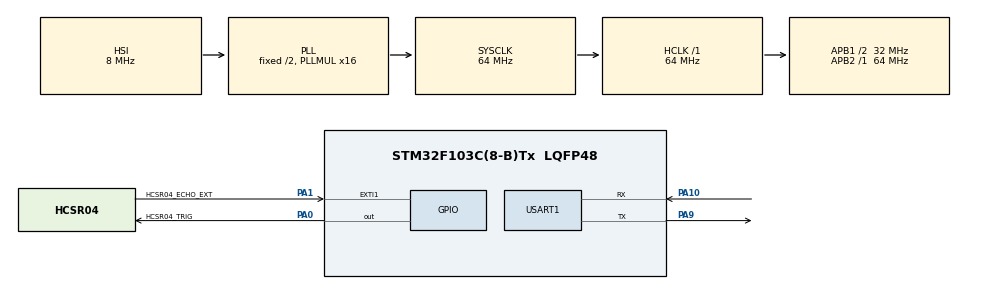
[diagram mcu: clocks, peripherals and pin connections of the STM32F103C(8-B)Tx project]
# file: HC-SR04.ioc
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Mcu.Family=STM32F1
Mcu.Name=STM32F103C(8-B)Tx
Mcu.Package=LQFP48
NVIC.EXTI1_IRQn=true\:1\:0\:true\:false\:true\:true\:true\:true
NVIC.PriorityGroup=NVIC_PRIORITYGROUP_4
PA0-WKUP.GPIO_Label=HCSR04_TRIG
PA0-WKUP.Signal=GPIO_Output
PA1.GPIO_Label=HCSR04_ECHO_EXT
PA1.GPIO_ModeDefaultEXTI=GPIO_MODE_IT_RISING_FALLING
PA1.GPIO_PuPd=GPIO_PULLUP
PA1.Signal=GPXTI1
PA10.Mode=Asynchronous
PA10.Signal=USART1_RX
PA13.Mode=Serial_Wire
PA13.Signal=SYS_JTMS-SWDIO
PA14.Mode=Serial_Wire
PA14.Signal=SYS_JTCK-SWCLK
PA9.Mode=Asynchronous
PA9.Signal=USART1_TX
PC14-OSC32_IN.Mode=LSE-External-Oscillator
PC14-OSC32_IN.Signal=RCC_OSC32_IN
PC15-OSC32_OUT.Mode=LSE-External-Oscillator
PC15-OSC32_OUT.Signal=RCC_OSC32_OUT
ProjectManager.HeapSize=0x200
ProjectManager.StackSize=0x400
ProjectManager.TargetToolchain=STM32CubeIDE
RCC.AHBFreq_Value=64000000
RCC.APB1CLKDivider=RCC_HCLK_DIV2
RCC.APB1Freq_Value=32000000
RCC.APB1TimFreq_Value=64000000
RCC.APB2Freq_Value=64000000
RCC.APB2TimFreq_Value=64000000
RCC.HCLKFreq_Value=64000000
RCC.PLLMUL=RCC_PLL_MUL16
RCC.SYSCLKFreq_VALUE=64000000
RCC.SYSCLKSource=RCC_SYSCLKSOURCE_PLLCLK
RCC.USBFreq_Value=64000000
TIM1.Prescaler=63
USART1.VirtualMode=VM_ASYNC
VP_TIM1_VS_ClockSourceINT.Mode=Internal
board=custom

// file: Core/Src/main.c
/* USER CODE BEGIN Header */
/**
  ******************************************************************************
  * @file           : main.c
  * @brief          : Main program body
  ******************************************************************************
  * @attention
  *
  * Copyright (c) 2025 STMicroelectronics.
  * All rights reserved.
  *
  * This software is licensed under terms that can be found in the LICENSE file
  * in the root directory of this software component.
  * If no LICENSE file comes with this software, it is provided AS-IS.
  *
  ******************************************************************************
  */
/* USER CODE END Header */
#include "main.h"

/* USER CODE BEGIN Includes */
#include <stdio.h>
#include <string.h>
/* USER CODE END Includes */

 TIM_HandleTypeDef htim1;

UART_HandleTypeDef huart1;

void SystemClock_Config(void);
static void MX_GPIO_Init(void);
static void MX_TIM1_Init(void);
static void MX_USART1_UART_Init(void);

/* USER CODE BEGIN 0 */
float RESULT;

typedef enum
{
	HCSR04_IDLE_STATE,
	HCSR4_WAIT_EXT_RISING_STATE,
	HCSR4_WAIT_EXT_FALLING_STATE,
	HCSR4_COMPLETE_STATE,
} HCSR04_STATE;

HCSR04_STATE Hcsr04_State = HCSR04_IDLE_STATE;

void HCSR04_COMPLETE_CALLBACK(float Distance)
{
	RESULT = Distance;
}

void HCSR04_HANDLE()
{
	switch (Hcsr04_State)
	{
	case HCSR4_COMPLETE_STATE:
	{
		float Distance = 0.017 * htim1.Instance -> CNT;
		HCSR04_COMPLETE_CALLBACK(Distance);
	}
	default: break;
	}
}

void HAL_GPIO_EXTI_Callback(uint16_t GPIO_Pin)
{
	if (GPIO_Pin == HCSR04_ECHO_EXT_Pin)
	{
		switch (Hcsr04_State){
			case HCSR4_WAIT_EXT_RISING_STATE:
			{
				if(HAL_GPIO_ReadPin(HCSR04_ECHO_EXT_GPIO_Port, HCSR04_ECHO_EXT_Pin) == 1)
				{
					htim1.Instance -> CNT = 0;
					HAL_TIM_Base_Start(&htim1);
					Hcsr04_State = HCSR4_WAIT_EXT_FALLING_STATE;

				}
				else
				{
					Hcsr04_State = HCSR04_IDLE_STATE;
				}
				break;
			}
			case HCSR4_WAIT_EXT_FALLING_STATE:
			{
				if(HAL_GPIO_ReadPin(HCSR04_ECHO_EXT_GPIO_Port, HCSR04_ECHO_EXT_Pin) == 0)
				{
					HAL_TIM_Base_Stop(&htim1);
					Hcsr04_State = HCSR4_COMPLETE_STATE;
				}
				else
				{
					Hcsr04_State = HCSR04_IDLE_STATE;
				}
				break;
			}
			default: break;

		}

	}
}

void HCSR04_START()
{

	HAL_GPIO_WritePin(HCSR04_TRIG_GPIO_Port, HCSR04_TRIG_Pin, GPIO_PIN_SET);
	HAL_Delay(1);
	HAL_GPIO_WritePin(HCSR04_TRIG_GPIO_Port, HCSR04_TRIG_Pin, GPIO_PIN_RESET);
	Hcsr04_State = HCSR4_WAIT_EXT_RISING_STATE;

}

/* USER CODE END 0 */

int main(void)
{

  /* MCU Configuration--------------------------------------------------------*/

  /* Reset of all peripherals, Initializes the Flash interface and the Systick. */
  HAL_Init();

  /* Configure the system clock */
  SystemClock_Config();

  /* Initialize all configured peripherals */
  MX_GPIO_Init();
  MX_TIM1_Init();
  MX_USART1_UART_Init();

  /* Infinite loop */
  while (1)
  {

    /* USER CODE BEGIN 3 */
	  uint32_t TIME_HCSR04_READ;
	  if (HAL_GetTick() - TIME_HCSR04_READ >= 300)
	  {
		  HCSR04_START();
		  TIME_HCSR04_READ = HAL_GetTick();
	  }
	  HCSR04_HANDLE();

  }
  /* USER CODE END 3 */
}

void SystemClock_Config(void)
{
  RCC_OscInitTypeDef RCC_OscInitStruct = {0};
  RCC_ClkInitTypeDef RCC_ClkInitStruct = {0};

  /** Initializes the RCC Oscillators according to the specified parameters
  * in the RCC_OscInitTypeDef structure.
  */
  RCC_OscInitStruct.OscillatorType = RCC_OSCILLATORTYPE_HSI;
  RCC_OscInitStruct.HSIState = RCC_HSI_ON;
  RCC_OscInitStruct.HSICalibrationValue = RCC_HSICALIBRATION_DEFAULT;
  RCC_OscInitStruct.PLL.PLLState = RCC_PLL_ON;
  RCC_OscInitStruct.PLL.PLLSource = RCC_PLLSOURCE_HSI_DIV2;
  RCC_OscInitStruct.PLL.PLLMUL = RCC_PLL_MUL16;
  if (HAL_RCC_OscConfig(&RCC_OscInitStruct) != HAL_OK)
  {
    Error_Handler();
  }

  /** Initializes the CPU, AHB and APB buses clocks
  */
  RCC_ClkInitStruct.ClockType = RCC_CLOCKTYPE_HCLK|RCC_CLOCKTYPE_SYSCLK
                              |RCC_CLOCKTYPE_PCLK1|RCC_CLOCKTYPE_PCLK2;
  RCC_ClkInitStruct.SYSCLKSource = RCC_SYSCLKSOURCE_PLLCLK;
  RCC_ClkInitStruct.AHBCLKDivider = RCC_SYSCLK_DIV1;
  RCC_ClkInitStruct.APB1CLKDivider = RCC_HCLK_DIV2;
  RCC_ClkInitStruct.APB2CLKDivider = RCC_HCLK_DIV1;

  if (HAL_RCC_ClockConfig(&RCC_ClkInitStruct, FLASH_LATENCY_2) != HAL_OK)
  {
    Error_Handler();
  }
}

static void MX_TIM1_Init(void)
{

  TIM_ClockConfigTypeDef sClockSourceConfig = {0};
  TIM_MasterConfigTypeDef sMasterConfig = {0};

  htim1.Instance = TIM1;
  htim1.Init.Prescaler = 63;
  htim1.Init.CounterMode = TIM_COUNTERMODE_UP;
  htim1.Init.Period = 65535;
  htim1.Init.ClockDivision = TIM_CLOCKDIVISION_DIV1;
  htim1.Init.RepetitionCounter = 0;
  htim1.Init.AutoReloadPreload = TIM_AUTORELOAD_PRELOAD_DISABLE;
  if (HAL_TIM_Base_Init(&htim1) != HAL_OK)
  {
    Error_Handler();
  }
  sClockSourceConfig.ClockSource = TIM_CLOCKSOURCE_INTERNAL;
  if (HAL_TIM_ConfigClockSource(&htim1, &sClockSourceConfig) != HAL_OK)
  {
    Error_Handler();
  }
  sMasterConfig.MasterOutputTrigger = TIM_TRGO_RESET;
  sMasterConfig.MasterSlaveMode = TIM_MASTERSLAVEMODE_DISABLE;
  if (HAL_TIMEx_MasterConfigSynchronization(&htim1, &sMasterConfig) != HAL_OK)
  {
    Error_Handler();
  }

}

static void MX_USART1_UART_Init(void)
{

  huart1.Instance = USART1;
  huart1.Init.BaudRate = 115200;
  huart1.Init.WordLength = UART_WORDLENGTH_8B;
  huart1.Init.StopBits = UART_STOPBITS_1;
  huart1.Init.Parity = UART_PARITY_NONE;
  huart1.Init.Mode = UART_MODE_TX_RX;
  huart1.Init.HwFlowCtl = UART_HWCONTROL_NONE;
  huart1.Init.OverSampling = UART_OVERSAMPLING_16;
  if (HAL_UART_Init(&huart1) != HAL_OK)
  {
    Error_Handler();
  }

}

static void MX_GPIO_Init(void)
{
  GPIO_InitTypeDef GPIO_InitStruct = {0};

  /* GPIO Ports Clock Enable */
  __HAL_RCC_GPIOC_CLK_ENABLE();
  __HAL_RCC_GPIOA_CLK_ENABLE();

  /*Configure GPIO pin Output Level */
  HAL_GPIO_WritePin(HCSR04_TRIG_GPIO_Port, HCSR04_TRIG_Pin, GPIO_PIN_RESET);

  /*Configure GPIO pin : HCSR04_TRIG_Pin */
  GPIO_InitStruct.Pin = HCSR04_TRIG_Pin;
  GPIO_InitStruct.Mode = GPIO_MODE_OUTPUT_PP;
  GPIO_InitStruct.Pull = GPIO_NOPULL;
  GPIO_InitStruct.Speed = GPIO_SPEED_FREQ_LOW;
  HAL_GPIO_Init(HCSR04_TRIG_GPIO_Port, &GPIO_InitStruct);

  /*Configure GPIO pin : HCSR04_ECHO_EXT_Pin */
  GPIO_InitStruct.Pin = HCSR04_ECHO_EXT_Pin;
  GPIO_InitStruct.Mode = GPIO_MODE_IT_RISING_FALLING;
  GPIO_InitStruct.Pull = GPIO_PULLUP;
  HAL_GPIO_Init(HCSR04_ECHO_EXT_GPIO_Port, &GPIO_InitStruct);

  /* EXTI interrupt init*/
  HAL_NVIC_SetPriority(EXTI1_IRQn, 1, 0);
  HAL_NVIC_EnableIRQ(EXTI1_IRQn);

}

void Error_Handler(void)
{
  __disable_irq();
  while (1)
  {
  }
}
